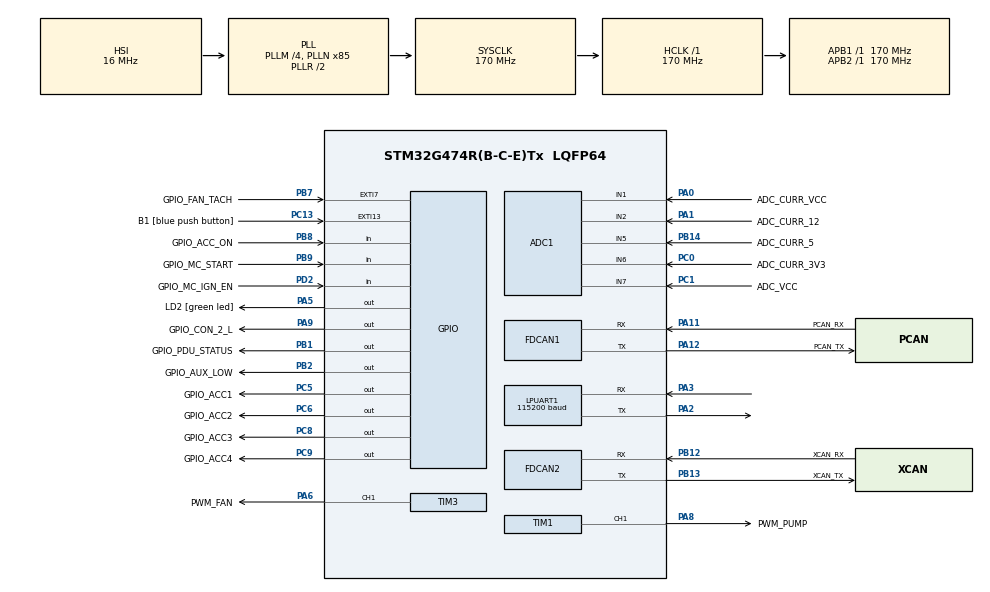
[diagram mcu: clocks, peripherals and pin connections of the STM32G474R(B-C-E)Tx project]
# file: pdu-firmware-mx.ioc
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ADC1.Channel-0\#ChannelRegularConversion=ADC_CHANNEL_1
ADC1.NbrOfConversionFlag=1
ADC1.OffsetNumber-0\#ChannelRegularConversion=ADC_OFFSET_NONE
ADC1.Rank-0\#ChannelRegularConversion=1
ADC1.SamplingTime-0\#ChannelRegularConversion=ADC_SAMPLETIME_2CYCLES_5
ADC1.master=1
FDCAN1.CalculateBaudRateNominal=500000
FDCAN1.CalculateTimeBitNominal=2000
FDCAN1.CalculateTimeQuantumNominal=100.0
FDCAN1.NominalPrescaler=17
FDCAN1.NominalTimeSeg1=14
FDCAN1.NominalTimeSeg2=5
FDCAN2.CalculateBaudRateNominal=500000
FDCAN2.CalculateTimeBitNominal=2000
FDCAN2.CalculateTimeQuantumNominal=100.0
FDCAN2.NominalPrescaler=17
FDCAN2.NominalTimeSeg1=14
FDCAN2.NominalTimeSeg2=5
LPUART1.BaudRate=115200
Mcu.Family=STM32G4
Mcu.Name=STM32G474R(B-C-E)Tx
Mcu.Package=LQFP64
NVIC.EXTI15_10_IRQn=true\:0\:0\:false\:false\:true\:true\:true\:true
NVIC.PriorityGroup=NVIC_PRIORITYGROUP_4
PA0.GPIO_Label=ADC_CURR_VCC
PA0.Mode=IN1-Single-Ended
PA0.Signal=ADC1_IN1
PA1.GPIO_Label=ADC_CURR_12
PA1.Mode=IN2-Single-Ended
PA1.Signal=ADC1_IN2
PA11.GPIO_Label=PCAN_RX
PA11.Mode=FDCAN_Activate
PA11.Signal=FDCAN1_RX
PA12.GPIO_Label=PCAN_TX
PA12.Mode=FDCAN_Activate
PA12.Signal=FDCAN1_TX
PA13.GPIO_Label=T_SWDIO
PA13.Mode=Serial_Wire
PA13.Signal=SYS_JTMS-SWDIO
PA14.GPIO_Label=T_SWCLK
PA14.Mode=Serial_Wire
PA14.Signal=SYS_JTCK-SWCLK
PA2.Mode=Asynchronous
PA2.Signal=LPUART1_TX
PA3.Mode=Asynchronous
PA3.Signal=LPUART1_RX
PA5.GPIO_Label=LD2 [green led]
PA5.GPIO_PuPd=GPIO_PULLDOWN
PA5.Signal=GPIO_Output
PA6.GPIO_Label=PWM_FAN
PA6.Signal=S_TIM3_CH1
PA8.GPIO_Label=PWM_PUMP
PA8.Signal=S_TIM1_CH1
PA9.GPIO_Label=GPIO_CON_2_L
PA9.GPIO_PuPd=GPIO_PULLDOWN
PA9.Signal=GPIO_Output
PB1.GPIO_Label=GPIO_PDU_STATUS
PB1.GPIO_PuPd=GPIO_PULLDOWN
PB1.Signal=GPIO_Output
PB12.GPIO_Label=XCAN_RX
PB12.Mode=FDCAN_Activate
PB12.Signal=FDCAN2_RX
PB13.GPIO_Label=XCAN_TX
PB13.Mode=FDCAN_Activate
PB13.Signal=FDCAN2_TX
PB14.GPIO_Label=ADC_CURR_5
PB14.Mode=IN5-Single-Ended
PB14.Signal=ADC1_IN5
PB2.GPIO_Label=GPIO_AUX_LOW
PB2.GPIO_PuPd=GPIO_PULLDOWN
PB2.Signal=GPIO_Output
PB3.GPIO_Label=T_SWO
PB3.Signal=SYS_JTDO-SWO
PB7.GPIO_Label=GPIO_FAN_TACH
PB7.GPIO_PuPd=GPIO_PULLUP
PB7.Signal=GPXTI7
PB8-BOOT0.GPIO_Label=GPIO_ACC_ON
PB8-BOOT0.GPIO_PuPd=GPIO_PULLDOWN
PB8-BOOT0.Signal=GPIO_Input
PB9.GPIO_Label=GPIO_MC_START
PB9.GPIO_PuPd=GPIO_PULLDOWN
PB9.Signal=GPIO_Input
PC0.GPIO_Label=ADC_CURR_3V3
PC0.Mode=IN6-Single-Ended
PC0.Signal=ADC1_IN6
PC1.GPIO_Label=ADC_VCC
PC1.Mode=IN7-Single-Ended
PC1.Signal=ADC1_IN7
PC13.GPIO_Label=B1 [blue push button]
PC13.GPIO_PuPd=GPIO_PULLDOWN
PC13.Signal=GPXTI13
PC14-OSC32_IN.Mode=LSE-External-Oscillator
PC14-OSC32_IN.Signal=RCC_OSC32_IN
PC15-OSC32_OUT.Mode=LSE-External-Oscillator
PC15-OSC32_OUT.Signal=RCC_OSC32_OUT
PC5.GPIO_Label=GPIO_ACC1
PC5.GPIO_PuPd=GPIO_PULLDOWN
PC5.Signal=GPIO_Output
PC6.GPIO_Label=GPIO_ACC2
PC6.GPIO_PuPd=GPIO_PULLDOWN
PC6.Signal=GPIO_Output
PC8.GPIO_Label=GPIO_ACC3
PC8.GPIO_PuPd=GPIO_PULLDOWN
PC8.Signal=GPIO_Output
PC9.GPIO_Label=GPIO_ACC4
PC9.GPIO_PuPd=GPIO_PULLDOWN
PC9.Signal=GPIO_Output
PD2.GPIO_Label=GPIO_MC_IGN_EN
PD2.GPIO_PuPd=GPIO_PULLDOWN
PD2.Signal=GPIO_Input
PF0-OSC_IN.Mode=HSE-External-Oscillator
PF0-OSC_IN.Signal=RCC_OSC_IN
PF1-OSC_OUT.Mode=HSE-External-Oscillator
PF1-OSC_OUT.Signal=RCC_OSC_OUT
ProjectManager.HeapSize=0x200
ProjectManager.StackSize=0x400
ProjectManager.TargetToolchain=CMake
RCC.ADC12Freq_Value=170000000
RCC.ADC345Freq_Value=170000000
RCC.AHBFreq_Value=170000000
RCC.APB1Freq_Value=170000000
RCC.APB1TimFreq_Value=170000000
RCC.APB2Freq_Value=170000000
RCC.APB2TimFreq_Value=170000000
RCC.CortexFreq_Value=170000000
RCC.EXTERNAL_CLOCK_VALUE=12288000
RCC.HCLKFreq_Value=170000000
RCC.HSE_VALUE=24000000
RCC.HSI48_VALUE=48000000
RCC.HSI_VALUE=16000000
RCC.PLLM=RCC_PLLM_DIV4
RCC.PLLN=85
RCC.SYSCLKFreq_VALUE=170000000
RCC.SYSCLKSource=RCC_SYSCLKSOURCE_PLLCLK
RCC.USBFreq_Value=170000000
RCC.VCOOutputFreq_Value=340000000
SH.S_TIM1_CH1.0=TIM1_CH1,PWM Generation1 CH1
SH.S_TIM3_CH1.0=TIM3_CH1,PWM Generation1 CH1
TIM1.AutoReloadPreload=TIM_AUTORELOAD_PRELOAD_DISABLE
TIM1.Channel-PWM\ Generation1\ CH1=TIM_CHANNEL_1
TIM1.PeriodNoDither=5099
TIM1.PulseNoDither_1=0
TIM3.Channel-PWM\ Generation1\ CH1=TIM_CHANNEL_1
TIM3.PeriodNoDither=5099
VP_SYS_VS_DBSignals.Mode=DisableDeadBatterySignals
VP_TIM1_VS_ClockSourceINT.Mode=Internal
VP_TIM3_VS_ClockSourceINT.Mode=Internal
board=custom

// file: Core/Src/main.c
/* USER CODE BEGIN Header */
/**
  ******************************************************************************
  * @file           : main.c
  * @brief          : Main program body
  ******************************************************************************
  * @attention
  *
  * Copyright (c) 2024 STMicroelectronics.
  * All rights reserved.
  *
  * This software is licensed under terms that can be found in the LICENSE file
  * in the root directory of this software component.
  * If no LICENSE file comes with this software, it is provided AS-IS.
  *
  ******************************************************************************
  */
/* USER CODE END Header */
#include "main.h"
#include "bolt_application.h"
#include "bolt_debug.h"
#include <assert.h>
#include <stdio.h>

ADC_HandleTypeDef hadc1;

FDCAN_HandleTypeDef hfdcan1;
FDCAN_HandleTypeDef hfdcan2;

UART_HandleTypeDef hlpuart1;

TIM_HandleTypeDef htim1;
TIM_HandleTypeDef htim3;

/* USER CODE BEGIN PV */
struct Application app;
/* USER CODE END PV */

void SystemClock_Config(void);
static void MX_GPIO_Init(void);
static void MX_ADC1_Init(void);
static void MX_FDCAN1_Init(void);
static void MX_FDCAN2_Init(void);
static void MX_LPUART1_UART_Init(void);
static void MX_TIM1_Init(void);
static void MX_TIM3_Init(void);
/* USER CODE BEGIN PFP */
#ifdef __GNUC__
/* With GCC, small printf (option LD Linker->Libraries->Small printf
     set to 'Yes') calls __io_putchar() */
#	define PUTCHAR_PROTOTYPE int __io_putchar(int ch)
#else
#	define PUTCHAR_PROTOTYPE int fputc(int ch, FILE* f)
#endif /* __GNUC__ */

/* USER CODE END PFP */

int main(void)
{

	/* MCU Configuration--------------------------------------------------------*/

	/* Reset of all peripherals, Initializes the Flash interface and the Systick. */
	HAL_Init();

	/* Configure the system clock */
	SystemClock_Config();

	/* Initialize all configured peripherals */
	MX_GPIO_Init();
	MX_ADC1_Init();
	MX_FDCAN1_Init();
	MX_FDCAN2_Init();
	MX_LPUART1_UART_Init();
	MX_TIM1_Init();
	MX_TIM3_Init();

	/* USER CODE BEGIN 2 */

	// BOLT code starts here
	// pause for a second, otherwise the uart terminal might miss messages on bootup
	HAL_Delay(1000);
	LOG_DBG("Hello, World!");

	app = applicationSetup(&hadc1, &hfdcan1, &hfdcan2, &htim1, &htim3);

	/* USER CODE END 2 */

	/* Infinite loop */
	/* USER CODE BEGIN WHILE */
	while(1)
	{
		applicationLoop(&app);
		/* USER CODE END WHILE */

	}
}

void SystemClock_Config(void)
{
	RCC_OscInitTypeDef RCC_OscInitStruct = {0};
	RCC_ClkInitTypeDef RCC_ClkInitStruct = {0};

	/** Configure the main internal regulator output voltage
  */
	HAL_PWREx_ControlVoltageScaling(PWR_REGULATOR_VOLTAGE_SCALE1_BOOST);

	/** Initializes the RCC Oscillators according to the specified parameters
  * in the RCC_OscInitTypeDef structure.
  */
	RCC_OscInitStruct.OscillatorType = RCC_OSCILLATORTYPE_HSI;
	RCC_OscInitStruct.HSIState = RCC_HSI_ON;
	RCC_OscInitStruct.HSICalibrationValue = RCC_HSICALIBRATION_DEFAULT;
	RCC_OscInitStruct.PLL.PLLState = RCC_PLL_ON;
	RCC_OscInitStruct.PLL.PLLSource = RCC_PLLSOURCE_HSI;
	RCC_OscInitStruct.PLL.PLLM = RCC_PLLM_DIV4;
	RCC_OscInitStruct.PLL.PLLN = 85;
	RCC_OscInitStruct.PLL.PLLP = RCC_PLLP_DIV2;
	RCC_OscInitStruct.PLL.PLLQ = RCC_PLLQ_DIV2;
	RCC_OscInitStruct.PLL.PLLR = RCC_PLLR_DIV2;
	if(HAL_RCC_OscConfig(&RCC_OscInitStruct) != HAL_OK)
	{
		Error_Handler();
	}

	/** Initializes the CPU, AHB and APB buses clocks
  */
	RCC_ClkInitStruct.ClockType =
		RCC_CLOCKTYPE_HCLK | RCC_CLOCKTYPE_SYSCLK | RCC_CLOCKTYPE_PCLK1 | RCC_CLOCKTYPE_PCLK2;
	RCC_ClkInitStruct.SYSCLKSource = RCC_SYSCLKSOURCE_PLLCLK;
	RCC_ClkInitStruct.AHBCLKDivider = RCC_SYSCLK_DIV1;
	RCC_ClkInitStruct.APB1CLKDivider = RCC_HCLK_DIV1;
	RCC_ClkInitStruct.APB2CLKDivider = RCC_HCLK_DIV1;

	if(HAL_RCC_ClockConfig(&RCC_ClkInitStruct, FLASH_LATENCY_4) != HAL_OK)
	{
		Error_Handler();
	}
}

static void MX_ADC1_Init(void)
{

	ADC_MultiModeTypeDef multimode = {0};
	ADC_ChannelConfTypeDef sConfig = {0};

	/** Common config
  */
	hadc1.Instance = ADC1;
	hadc1.Init.ClockPrescaler = ADC_CLOCK_SYNC_PCLK_DIV4;
	hadc1.Init.Resolution = ADC_RESOLUTION_12B;
	hadc1.Init.DataAlign = ADC_DATAALIGN_RIGHT;
	hadc1.Init.GainCompensation = 0;
	hadc1.Init.ScanConvMode = ADC_SCAN_DISABLE;
	hadc1.Init.EOCSelection = ADC_EOC_SINGLE_CONV;
	hadc1.Init.LowPowerAutoWait = DISABLE;
	hadc1.Init.ContinuousConvMode = DISABLE;
	hadc1.Init.NbrOfConversion = 1;
	hadc1.Init.DiscontinuousConvMode = DISABLE;
	hadc1.Init.ExternalTrigConv = ADC_SOFTWARE_START;
	hadc1.Init.ExternalTrigConvEdge = ADC_EXTERNALTRIGCONVEDGE_NONE;
	hadc1.Init.DMAContinuousRequests = DISABLE;
	hadc1.Init.Overrun = ADC_OVR_DATA_PRESERVED;
	hadc1.Init.OversamplingMode = DISABLE;
	if(HAL_ADC_Init(&hadc1) != HAL_OK)
	{
		Error_Handler();
	}

	/** Configure the ADC multi-mode
  */
	multimode.Mode = ADC_MODE_INDEPENDENT;
	if(HAL_ADCEx_MultiModeConfigChannel(&hadc1, &multimode) != HAL_OK)
	{
		Error_Handler();
	}

	/** Configure Regular Channel
  */
	sConfig.Channel = ADC_CHANNEL_1;
	sConfig.Rank = ADC_REGULAR_RANK_1;
	sConfig.SamplingTime = ADC_SAMPLETIME_2CYCLES_5;
	sConfig.SingleDiff = ADC_SINGLE_ENDED;
	sConfig.OffsetNumber = ADC_OFFSET_NONE;
	sConfig.Offset = 0;
	if(HAL_ADC_ConfigChannel(&hadc1, &sConfig) != HAL_OK)
	{
		Error_Handler();
	}
}

static void MX_FDCAN1_Init(void)
{

	hfdcan1.Instance = FDCAN1;
	hfdcan1.Init.ClockDivider = FDCAN_CLOCK_DIV1;
	hfdcan1.Init.FrameFormat = FDCAN_FRAME_CLASSIC;
	hfdcan1.Init.Mode = FDCAN_MODE_NORMAL;
	hfdcan1.Init.AutoRetransmission = DISABLE;
	hfdcan1.Init.TransmitPause = DISABLE;
	hfdcan1.Init.ProtocolException = DISABLE;
	hfdcan1.Init.NominalPrescaler = 17;
	hfdcan1.Init.NominalSyncJumpWidth = 1;
	hfdcan1.Init.NominalTimeSeg1 = 14;
	hfdcan1.Init.NominalTimeSeg2 = 5;
	hfdcan1.Init.DataPrescaler = 1;
	hfdcan1.Init.DataSyncJumpWidth = 1;
	hfdcan1.Init.DataTimeSeg1 = 1;
	hfdcan1.Init.DataTimeSeg2 = 1;
	hfdcan1.Init.StdFiltersNbr = 0;
	hfdcan1.Init.ExtFiltersNbr = 0;
	hfdcan1.Init.TxFifoQueueMode = FDCAN_TX_FIFO_OPERATION;
	if(HAL_FDCAN_Init(&hfdcan1) != HAL_OK)
	{
		Error_Handler();
	}
}

static void MX_FDCAN2_Init(void)
{

	hfdcan2.Instance = FDCAN2;
	hfdcan2.Init.ClockDivider = FDCAN_CLOCK_DIV1;
	hfdcan2.Init.FrameFormat = FDCAN_FRAME_CLASSIC;
	hfdcan2.Init.Mode = FDCAN_MODE_NORMAL;
	hfdcan2.Init.AutoRetransmission = DISABLE;
	hfdcan2.Init.TransmitPause = DISABLE;
	hfdcan2.Init.ProtocolException = DISABLE;
	hfdcan2.Init.NominalPrescaler = 17;
	hfdcan2.Init.NominalSyncJumpWidth = 1;
	hfdcan2.Init.NominalTimeSeg1 = 14;
	hfdcan2.Init.NominalTimeSeg2 = 5;
	hfdcan2.Init.DataPrescaler = 1;
	hfdcan2.Init.DataSyncJumpWidth = 1;
	hfdcan2.Init.DataTimeSeg1 = 1;
	hfdcan2.Init.DataTimeSeg2 = 1;
	hfdcan2.Init.StdFiltersNbr = 0;
	hfdcan2.Init.ExtFiltersNbr = 0;
	hfdcan2.Init.TxFifoQueueMode = FDCAN_TX_FIFO_OPERATION;
	if(HAL_FDCAN_Init(&hfdcan2) != HAL_OK)
	{
		Error_Handler();
	}
}

static void MX_LPUART1_UART_Init(void)
{

	hlpuart1.Instance = LPUART1;
	hlpuart1.Init.BaudRate = 115200;
	hlpuart1.Init.WordLength = UART_WORDLENGTH_8B;
	hlpuart1.Init.StopBits = UART_STOPBITS_1;
	hlpuart1.Init.Parity = UART_PARITY_NONE;
	hlpuart1.Init.Mode = UART_MODE_TX_RX;
	hlpuart1.Init.HwFlowCtl = UART_HWCONTROL_NONE;
	hlpuart1.Init.OneBitSampling = UART_ONE_BIT_SAMPLE_DISABLE;
	hlpuart1.Init.ClockPrescaler = UART_PRESCALER_DIV1;
	hlpuart1.AdvancedInit.AdvFeatureInit = UART_ADVFEATURE_NO_INIT;
	if(HAL_UART_Init(&hlpuart1) != HAL_OK)
	{
		Error_Handler();
	}
	if(HAL_UARTEx_SetTxFifoThreshold(&hlpuart1, UART_TXFIFO_THRESHOLD_1_8) != HAL_OK)
	{
		Error_Handler();
	}
	if(HAL_UARTEx_SetRxFifoThreshold(&hlpuart1, UART_RXFIFO_THRESHOLD_1_8) != HAL_OK)
	{
		Error_Handler();
	}
	if(HAL_UARTEx_DisableFifoMode(&hlpuart1) != HAL_OK)
	{
		Error_Handler();
	}
}

static void MX_TIM1_Init(void)
{

	TIM_ClockConfigTypeDef sClockSourceConfig = {0};
	TIM_MasterConfigTypeDef sMasterConfig = {0};
	TIM_OC_InitTypeDef sConfigOC = {0};
	TIM_BreakDeadTimeConfigTypeDef sBreakDeadTimeConfig = {0};

	htim1.Instance = TIM1;
	htim1.Init.Prescaler = 0;
	htim1.Init.CounterMode = TIM_COUNTERMODE_UP;
	htim1.Init.Period = 5099;
	htim1.Init.ClockDivision = TIM_CLOCKDIVISION_DIV1;
	htim1.Init.RepetitionCounter = 0;
	htim1.Init.AutoReloadPreload = TIM_AUTORELOAD_PRELOAD_DISABLE;
	if(HAL_TIM_Base_Init(&htim1) != HAL_OK)
	{
		Error_Handler();
	}
	sClockSourceConfig.ClockSource = TIM_CLOCKSOURCE_INTERNAL;
	if(HAL_TIM_ConfigClockSource(&htim1, &sClockSourceConfig) != HAL_OK)
	{
		Error_Handler();
	}
	if(HAL_TIM_PWM_Init(&htim1) != HAL_OK)
	{
		Error_Handler();
	}
	sMasterConfig.MasterOutputTrigger = TIM_TRGO_RESET;
	sMasterConfig.MasterOutputTrigger2 = TIM_TRGO2_RESET;
	sMasterConfig.MasterSlaveMode = TIM_MASTERSLAVEMODE_DISABLE;
	if(HAL_TIMEx_MasterConfigSynchronization(&htim1, &sMasterConfig) != HAL_OK)
	{
		Error_Handler();
	}
	sConfigOC.OCMode = TIM_OCMODE_PWM1;
	sConfigOC.Pulse = 0; //seems to only be variable between 300 and 375?
	sConfigOC.OCPolarity = TIM_OCPOLARITY_HIGH;
	sConfigOC.OCNPolarity = TIM_OCNPOLARITY_HIGH;
	sConfigOC.OCFastMode = TIM_OCFAST_DISABLE;
	sConfigOC.OCIdleState = TIM_OCIDLESTATE_RESET;
	sConfigOC.OCNIdleState = TIM_OCNIDLESTATE_RESET;
	if(HAL_TIM_PWM_ConfigChannel(&htim1, &sConfigOC, TIM_CHANNEL_1) != HAL_OK)
	{
		Error_Handler();
	}
	sBreakDeadTimeConfig.OffStateRunMode = TIM_OSSR_DISABLE;
	sBreakDeadTimeConfig.OffStateIDLEMode = TIM_OSSI_DISABLE;
	sBreakDeadTimeConfig.LockLevel = TIM_LOCKLEVEL_OFF;
	sBreakDeadTimeConfig.DeadTime = 0;
	sBreakDeadTimeConfig.BreakState = TIM_BREAK_DISABLE;
	sBreakDeadTimeConfig.BreakPolarity = TIM_BREAKPOLARITY_HIGH;
	sBreakDeadTimeConfig.BreakFilter = 0;
	sBreakDeadTimeConfig.BreakAFMode = TIM_BREAK_AFMODE_INPUT;
	sBreakDeadTimeConfig.Break2State = TIM_BREAK2_DISABLE;
	sBreakDeadTimeConfig.Break2Polarity = TIM_BREAK2POLARITY_HIGH;
	sBreakDeadTimeConfig.Break2Filter = 0;
	sBreakDeadTimeConfig.Break2AFMode = TIM_BREAK_AFMODE_INPUT;
	sBreakDeadTimeConfig.AutomaticOutput = TIM_AUTOMATICOUTPUT_DISABLE;
	if(HAL_TIMEx_ConfigBreakDeadTime(&htim1, &sBreakDeadTimeConfig) != HAL_OK)
	{
		Error_Handler();
	}
	HAL_TIM_MspPostInit(&htim1);
}

static void MX_TIM3_Init(void)
{

	TIM_ClockConfigTypeDef sClockSourceConfig = {0};
	TIM_MasterConfigTypeDef sMasterConfig = {0};
	TIM_OC_InitTypeDef sConfigOC = {0};

	htim3.Instance = TIM3;
	htim3.Init.Prescaler = 0;
	htim3.Init.CounterMode = TIM_COUNTERMODE_UP;
	htim3.Init.Period = 5099;
	htim3.Init.ClockDivision = TIM_CLOCKDIVISION_DIV1;
	htim3.Init.AutoReloadPreload = TIM_AUTORELOAD_PRELOAD_DISABLE;
	if(HAL_TIM_Base_Init(&htim3) != HAL_OK)
	{
		Error_Handler();
	}
	sClockSourceConfig.ClockSource = TIM_CLOCKSOURCE_INTERNAL;
	if(HAL_TIM_ConfigClockSource(&htim3, &sClockSourceConfig) != HAL_OK)
	{
		Error_Handler();
	}
	if(HAL_TIM_PWM_Init(&htim3) != HAL_OK)
	{
		Error_Handler();
	}
	sMasterConfig.MasterOutputTrigger = TIM_TRGO_RESET;
	sMasterConfig.MasterSlaveMode = TIM_MASTERSLAVEMODE_DISABLE;
	if(HAL_TIMEx_MasterConfigSynchronization(&htim3, &sMasterConfig) != HAL_OK)
	{
		Error_Handler();
	}
	sConfigOC.OCMode = TIM_OCMODE_PWM1;
	sConfigOC.Pulse = 5099;
	sConfigOC.OCPolarity = TIM_OCPOLARITY_HIGH;
	sConfigOC.OCFastMode = TIM_OCFAST_DISABLE;
	if(HAL_TIM_PWM_ConfigChannel(&htim3, &sConfigOC, TIM_CHANNEL_1) != HAL_OK)
	{
		Error_Handler();
	}
	HAL_TIM_MspPostInit(&htim3);
}

static void MX_GPIO_Init(void)
{
	GPIO_InitTypeDef GPIO_InitStruct = {0};

	/* GPIO Ports Clock Enable */
	__HAL_RCC_GPIOC_CLK_ENABLE();
	__HAL_RCC_GPIOF_CLK_ENABLE();
	__HAL_RCC_GPIOA_CLK_ENABLE();
	__HAL_RCC_GPIOB_CLK_ENABLE();
	__HAL_RCC_GPIOD_CLK_ENABLE();

	/*Configure GPIO pin Output Level */
	HAL_GPIO_WritePin(GPIOA, LD2_Pin | GPIO_CON_2_L_Pin, GPIO_PIN_RESET);

	/*Configure GPIO pin Output Level */
	HAL_GPIO_WritePin(
		GPIOC, GPIO_ACC1_Pin | GPIO_ACC2_Pin | GPIO_ACC3_Pin | GPIO_ACC4_Pin, GPIO_PIN_RESET);

	/*Configure GPIO pin Output Level */
	HAL_GPIO_WritePin(GPIOB, GPIO_PDU_STATUS_Pin | GPIO_AUX_LOW_Pin, GPIO_PIN_RESET);

	/*Configure GPIO pin : B1_Pin */
	GPIO_InitStruct.Pin = B1_Pin;
	GPIO_InitStruct.Mode = GPIO_MODE_IT_RISING;
	GPIO_InitStruct.Pull = GPIO_PULLDOWN;
	HAL_GPIO_Init(B1_GPIO_Port, &GPIO_InitStruct);

	/*Configure GPIO pins : LD2_Pin GPIO_CON_2_L_Pin */
	GPIO_InitStruct.Pin = LD2_Pin | GPIO_CON_2_L_Pin;
	GPIO_InitStruct.Mode = GPIO_MODE_OUTPUT_PP;
	GPIO_InitStruct.Pull = GPIO_PULLDOWN;
	GPIO_InitStruct.Speed = GPIO_SPEED_FREQ_LOW;
	HAL_GPIO_Init(GPIOA, &GPIO_InitStruct);

	/*Configure GPIO pins : GPIO_ACC1_Pin GPIO_ACC2_Pin GPIO_ACC3_Pin GPIO_ACC4_Pin */
	GPIO_InitStruct.Pin = GPIO_ACC1_Pin | GPIO_ACC2_Pin | GPIO_ACC3_Pin | GPIO_ACC4_Pin;
	GPIO_InitStruct.Mode = GPIO_MODE_OUTPUT_PP;
	GPIO_InitStruct.Pull = GPIO_PULLDOWN;
	GPIO_InitStruct.Speed = GPIO_SPEED_FREQ_LOW;
	HAL_GPIO_Init(GPIOC, &GPIO_InitStruct);

	/*Configure GPIO pins : GPIO_PDU_STATUS_Pin GPIO_AUX_LOW_Pin */
	GPIO_InitStruct.Pin = GPIO_PDU_STATUS_Pin | GPIO_AUX_LOW_Pin;
	GPIO_InitStruct.Mode = GPIO_MODE_OUTPUT_PP;
	GPIO_InitStruct.Pull = GPIO_PULLDOWN;
	GPIO_InitStruct.Speed = GPIO_SPEED_FREQ_LOW;
	HAL_GPIO_Init(GPIOB, &GPIO_InitStruct);

	/*Configure GPIO pin : GPIO_MC_IGN_EN_Pin */
	GPIO_InitStruct.Pin = GPIO_MC_IGN_EN_Pin;
	GPIO_InitStruct.Mode = GPIO_MODE_INPUT;
	GPIO_InitStruct.Pull = GPIO_PULLDOWN;
	HAL_GPIO_Init(GPIO_MC_IGN_EN_GPIO_Port, &GPIO_InitStruct);

	/*Configure GPIO pin : GPIO_FAN_TACH_Pin */
	GPIO_InitStruct.Pin = GPIO_FAN_TACH_Pin;
	GPIO_InitStruct.Mode = GPIO_MODE_IT_RISING;
	GPIO_InitStruct.Pull = GPIO_PULLUP;
	HAL_GPIO_Init(GPIO_FAN_TACH_GPIO_Port, &GPIO_InitStruct);

	/*Configure GPIO pins : GPIO_ACC_ON_Pin GPIO_MC_START_Pin */
	GPIO_InitStruct.Pin = GPIO_ACC_ON_Pin | GPIO_MC_START_Pin;
	GPIO_InitStruct.Mode = GPIO_MODE_INPUT;
	GPIO_InitStruct.Pull = GPIO_PULLDOWN;
	HAL_GPIO_Init(GPIOB, &GPIO_InitStruct);

	/* EXTI interrupt init*/
	HAL_NVIC_SetPriority(EXTI15_10_IRQn, 0, 0);
	HAL_NVIC_EnableIRQ(EXTI15_10_IRQn);

}

/* USER CODE BEGIN 4 */

/**
  * @brief  Retargets the C library printf function to the USART.
  * @param  None
  * @retval None
  */
PUTCHAR_PROTOTYPE
{
	/* Place your implementation of fputc here */
	/* e.g. write a character to the EVAL_COM1 and Loop until the end of transmission */
	HAL_UART_Transmit(&hlpuart1, (uint8_t*)&ch, 1, 0xFFFF);

	return ch;
}

/* USER CODE END 4 */

void Error_Handler(void)
{
	/* USER CODE BEGIN Error_Handler_Debug */
	/* User can add his own implementation to report the HAL error return state */
	__disable_irq();
	LOG_DBG("HAL error occured");
	while(1)
	{
	}
	/* USER CODE END Error_Handler_Debug */
}

#ifdef USE_FULL_ASSERT
/**
  * @brief  Reports the name of the source file and the source line number
  *         where the assert_param error has occurred.
  * @param  file: pointer to the source file name
  * @param  line: assert_param error line source number
  * @retval None
  */
void assert_failed(uint8_t* file, uint32_t line)
{
	/* USER CODE BEGIN 6 */
	printf("Wrong parameters value: file %s on line %lu\r\n", file, line);
	/* USER CODE END 6 */
}
#endif /* USE_FULL_ASSERT */
